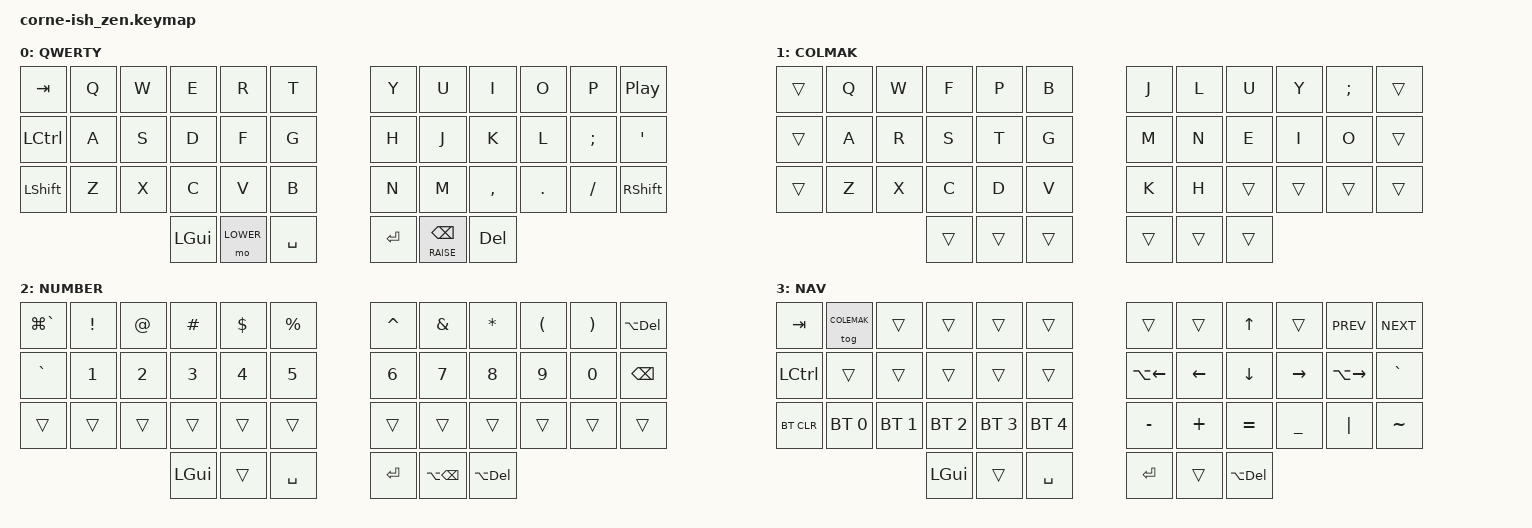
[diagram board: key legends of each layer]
#include <behaviors.dtsi>
#include <dt-bindings/zmk/keys.h>
#include <dt-bindings/zmk/bt.h>

#define QWERTY 0
#define COLEMAK 1
#define LOWER 2
#define RAISE 3


&lt {
//  tapping-term-ms = <200>;
  flavor = "hold-preferred";
};



/ {    //needed to start the keymap
    combos {
        compatible = "zmk,combos";
        combo_esc {
            timeout-ms = <50>;
            key-positions = <0 1>;
            bindings = <&kp ESC>;
        };
//        combo_esc_alt {
//            timeout-ms = <50>;
//            key-positions = <1 2>;
//            bindings = <&kp ESC>;
//        };
    };



/* 
    behaviors {
        tabgrave: tab_grave {
            compatible = "zmk,behavior-mod-morph";
            label = "TAB_ESCAPE";
            #binding-cells = <0>;
            bindings = <&kp TAB>, <&kp GRAVE>;
            mods = <(MOD_LSFT|MOD_RGUI|MOD_RSFT)>;
        };
    };

    behaviors {
        chp: custom_hold_preferred {
            compatible = "zmk,behavior-hold-tap";
            label = "CUSTOM_HOLD_PREFERRED";
            #binding-cells = <2>;
            flavor = "hold-preferred";           
            tapping-term-ms = <300>;    // <---[[moderate duration]]
            quick-tap-ms = <100>;
            bindings = <&lt>, <&kp>;
        };
    };
*/


    keymap {
            compatible = "zmk,keymap";

                QWERTY {
                        label = "QWERTY";
// -----------------------------------------------------------------------------------------
// |  TAB |  Q  |  W  |  E  |  R  |  T  |   |  Y  |  U   |  I  |  O  |  P  | PLAY |
// | CTRL |  A  |  S  |  D  |  F  |  G  |   |  H  |  J   |  K  |  L  |  ;  |  '   |
// | SHFT |  Z  |  X  |  C  |  V  |  B  |   |  N  |  M   |  ,  |  .  |  /  | SHFT |
//                    | GUI | LWR | SPC |   | ENT |RSE/Bk| DEL |
                        bindings = <
   &kp TAB   &kp Q &kp W &kp E &kp R &kp T        /**/          &kp Y     &kp U  &kp I     &kp O   &kp P    &kp C_PLAY_PAUSE
   &kp LCTRL &kp A &kp S &kp D &kp F &kp G        /**/          &kp H     &kp J  &kp K     &kp L   &kp SEMI &kp SQT
   &kp LSHFT &kp Z &kp X &kp C &kp V &kp B        /**/          &kp N     &kp M  &kp COMMA &kp DOT &kp FSLH &kp RSHFT
                &kp LGUI &mo LOWER &kp SPACE      /**/     &kp RETURN &lt RAISE BSPC &kp DEL
                        >;
                };

                COLEMAK {
                        label = "COLMAK";
// -----------------------------------------------------------------------------------------
// |      |  Q  |  W  |  F  |  P  |  B  |   |  J  |  L   |  U  |  Y  |  ;  |      |
// |      |  A  |  S  |  D  |  F  |  G  |   |  M  |  N   |  E  |  I  |  O  |      |
// |      |  Z  |  X  |  C  |  D  |  V  |   |  K  |  H   |     |     |     |      |
//                    |     |     |     |   |     |      |     |
                        bindings = <
   &trans  &kp Q &kp W &kp F &kp P &kp B         /**/          &kp J     &kp L  &kp U     &kp Y   &kp SEMI &trans
   &trans  &kp A &kp R &kp S &kp T &kp G         /**/          &kp M     &kp N  &kp E     &kp I   &kp O    &trans
   &trans  &kp Z &kp X &kp C &kp D &kp V         /**/          &kp K     &kp H  &trans    &trans  &trans   &trans
                        &trans &trans &trans     /**/        &trans &trans &trans
                        >;
                };

                LOWER {
                        label = "NUMBER";
// -----------------------------------------------------------------------------------------
// |L(Grav|  !  |  @  |  #  |  $  |  %  |   |  ^  |  &   |  *   |  (  |  )  |A(DEL)|
// | Grave|  1  |  2  |  3  |  4  |  5  |   |  6  |  7   |  8   |  9  |  0  | BKSP |
// |      |     |     |     |     |     |   |     |      |      |     |     |      |
//                    | GUI |     | SPC |   | ENT |A(bksp|A(del)|
                        bindings = <
   &kp LG(GRAVE)  &kp EXCL     &kp AT       &kp HASH     &kp DLLR     &kp PRCNT    /**/      &kp CARET &kp AMPS &kp ASTRK &kp LPAR &kp RPAR  &kp LA(DEL)
   &kp GRAVE      &kp N1       &kp N2       &kp N3       &kp N4       &kp N5       /**/      &kp N6    &kp N7   &kp N8    &kp N9   &kp N0    &kp BSPC
   &trans         &trans       &trans       &trans       &trans       &trans       /**/      &trans    &trans   &trans    &trans   &trans    &trans
                          	              &kp LGUI     &trans       &kp SPACE  /**/    &kp RET   &kp LA(BSPC)   &kp LA(DEL)
                        >;
                };

                RAISE {
                        label = "    NAV";
// -----------------------------------------------------------------------------------------
// |  TAB |clmak|     |     |     |     |   |     |     |  UP |     | PREV | NEXT |
// | CTRL |     |     |     |     |     |   |A(LFT| LEFT| DOWN|RIGHT|A(RGHT|  `   |
// | BTCLR| BT1 | BT2 | BT3 | BT4 | BT5 |   |  -  |  +  |  =  |  _  | "|"  |  ~   |
//                    | GUI |     | SPC |   | ENT |     | DEL |
                        bindings = <
   &kp TAB    &tog COLEMAK &trans       &trans       &trans        &trans         /**/      &trans       &trans    &kp UP       &trans     &kp C_PREV     &kp C_NEXT
   &kp LCTRL  &trans       &trans       &trans       &trans        &trans         /**/      &kp LA(LEFT) &kp LEFT  &kp DOWN     &kp RIGHT  &kp LA(RIGHT)  &kp GRAVE
   &bt BT_CLR &bt BT_SEL 0 &bt BT_SEL 1 &bt BT_SEL 2 &bt BT_SEL 3  &bt BT_SEL 4   /**/      &kp MINUS    &kp PLUS  &kp EQUAL    &kp UNDER  &kp PIPE       &kp TILDE
                    	                           &kp LGUI &trans &kp SPACE      /**/      &kp RET      &trans    &kp LA(DEL)
                        >;
                };
        };
};
